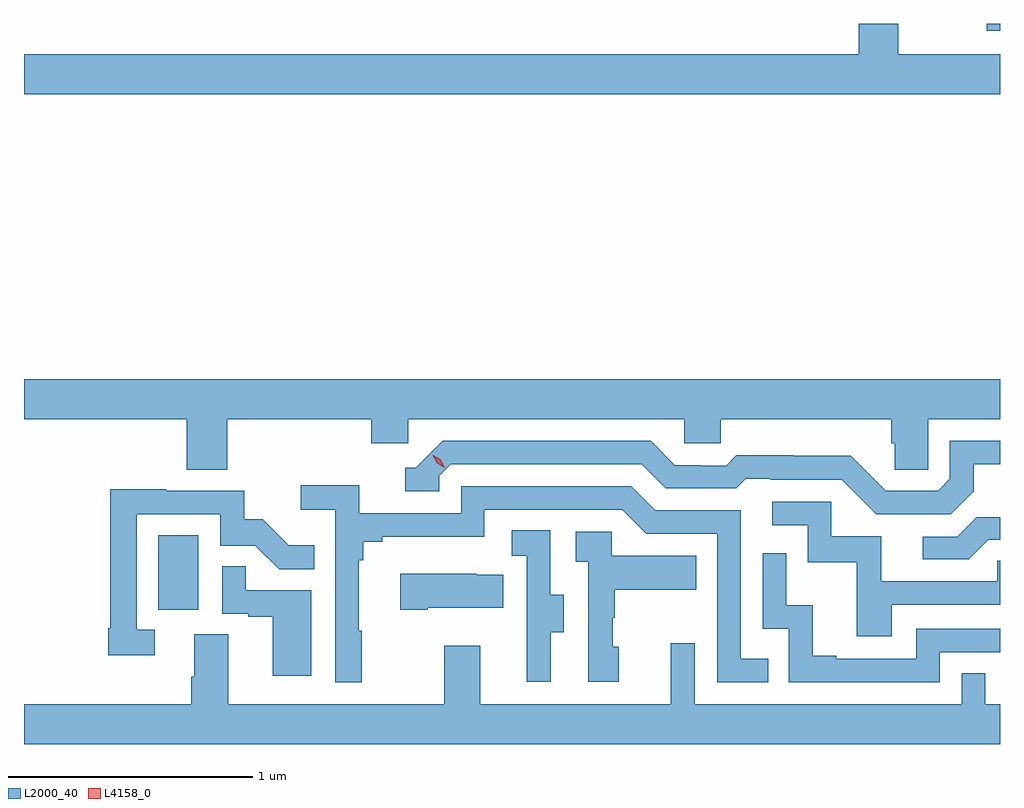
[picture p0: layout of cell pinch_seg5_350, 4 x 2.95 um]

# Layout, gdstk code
import gdstk
lib = gdstk.Library(unit=1e-6, precision=1e-09)
def R(c, l, rs):  # rectangles x0, y0, x1, y1
    for r in rs: c.add(gdstk.rectangle(r[:2], r[2:], *l))
def P(c, l, *ps):  # polygons
    for p in ps: c.add(gdstk.Polygon(p, *l))
L2000_40 = (2000, 40)
L4158_0 = (4158, 0)

pinch_seg5_350 = lib.new_cell('pinch_seg5_350')
R(pinch_seg5_350, L2000_40, [(982.502,883.95,982.666,884.257), (985.896,886.323,985.951,886.352)])
P(pinch_seg5_350, L2000_40, [(985.951,886.228),(985.533,886.228),(985.533,886.352),(985.373,886.352),(985.373,886.228),(981.951,886.228),(981.951,886.064),(985.951,886.064)],
  [(982.784,884.732),(983.375,884.732),(983.375,884.634),(983.526,884.634),(983.526,884.732),(984.657,884.732),(984.657,884.634),(984.807,884.634),(984.807,884.732),(985.505,884.732),(985.505,884.634),(985.519,884.634),(985.519,884.524),(985.656,884.524),(985.656,884.732),(985.951,884.732),(985.951,884.896),(981.951,884.896),(981.951,884.732),(982.619,884.732),(982.619,884.524),(982.784,884.524)],
  [(985.843,884.437),(985.843,884.547),(985.951,884.547),(985.951,884.643),(985.746,884.643),(985.746,884.487),(985.698,884.439),(985.482,884.439),(985.34,884.581),(985.104,884.581),(985.104,884.584),(984.871,884.584),(984.829,884.541),(984.726,884.541),(984.726,884.544),(984.619,884.544),(984.52,884.643),(983.667,884.643),(983.556,884.532),(983.513,884.532),(983.513,884.436),(983.652,884.436),(983.652,884.499),(983.7,884.547),(984.483,884.547),(984.582,884.448),(984.871,884.448),(984.91,884.487),(985.009,884.487),(985.009,884.484),(985.302,884.484),(985.443,884.343),(985.749,884.343)],
  [(983.335,883.865),(983.323,883.865),(983.323,884.153),(983.342,884.153),(983.342,884.23),(983.419,884.23),(983.419,884.249),(983.838,884.249),(983.838,884.361),(984.402,884.361),(984.501,884.262),(984.792,884.262),(984.792,883.653),(985.001,883.653),(985.001,883.749),(984.888,883.749),(984.888,884.358),(984.538,884.358),(984.439,884.457),(983.742,884.457),(983.742,884.346),(983.324,884.346),(983.324,884.462),(983.085,884.462),(983.085,884.36),(983.226,884.36),(983.226,883.653),(983.335,883.653)],
  [(982.486,883.869),(982.413,883.869),(982.413,884.343),(982.755,884.343),(982.755,884.214),(982.899,884.214),(982.997,884.116),(983.141,884.116),(983.141,884.215),(983.037,884.215),(982.93,884.322),(982.854,884.322),(982.854,884.439),(982.535,884.439),(982.535,884.444),(982.305,884.444),(982.305,883.876),(982.297,883.876),(982.297,883.764),(982.486,883.764)],
  [(985.507,883.971),(985.951,883.971),(985.951,884.151),(985.939,884.151),(985.939,884.067),(985.465,884.067),(985.465,884.253),(985.26,884.253),(985.26,884.394),(985.017,884.394),(985.017,884.298),(985.164,884.298),(985.164,884.145),(985.363,884.145),(985.363,883.842),(985.507,883.842)],
  [(985.903,884.238),(985.951,884.238),(985.951,884.33),(985.856,884.33),(985.776,884.25),(985.635,884.25),(985.635,884.157),(985.822,884.157)],
  [(984.109,883.858),(984.163,883.858),(984.163,884.013),(984.108,884.013),(984.108,884.276),(983.949,884.276),(983.949,884.173),(984.012,884.173),(984.012,883.869),(984.011,883.869),(984.011,883.656),(984.109,883.656)],
  [(984.388,883.8),(984.363,883.8),(984.363,883.919),(984.373,883.919),(984.373,884.033),(984.707,884.033),(984.707,884.173),(984.36,884.173),(984.36,884.271),(984.213,884.271),(984.213,884.147),(984.264,884.147),(984.264,883.656),(984.388,883.656)],
  [(985.704,883.776),(985.951,883.776),(985.951,883.872),(985.608,883.872),(985.608,883.749),(985.279,883.749),(985.279,883.762),(985.184,883.762),(985.184,883.97),(985.074,883.97),(985.074,884.182),(984.978,884.182),(984.978,883.872),(985.086,883.872),(985.086,883.653),(985.704,883.653)],
  [(983.128,884.031),(982.859,884.031),(982.859,884.129),(982.764,884.129),(982.764,883.935),(982.871,883.935),(982.871,883.923),(982.97,883.923),(982.97,883.68),(983.128,883.68)],
  [(983.605,883.958),(983.915,883.958),(983.915,884.095),(983.807,884.095),(983.807,884.098),(983.493,884.098),(983.493,883.951),(983.605,883.951)],
  [(985.951,883.564),(985.89,883.564),(985.89,883.691),(985.794,883.691),(985.794,883.564),(984.699,883.564),(984.699,883.813),(984.602,883.813),(984.602,883.564),(983.821,883.564),(983.821,883.804),(983.674,883.804),(983.674,883.564),(982.789,883.564),(982.789,883.85),(982.649,883.85),(982.649,883.676),(982.637,883.676),(982.637,883.564),(981.951,883.564),(981.951,883.4),(985.951,883.4)])
P(pinch_seg5_350, L4158_0, [(983.675,884.532),(983.644,884.551),(983.627,884.584),(983.627,884.584),(983.628,884.584),(983.659,884.565),(983.675,884.532),(983.675,884.532)])

lib.write_gds('pinch_seg5_350.gds')
